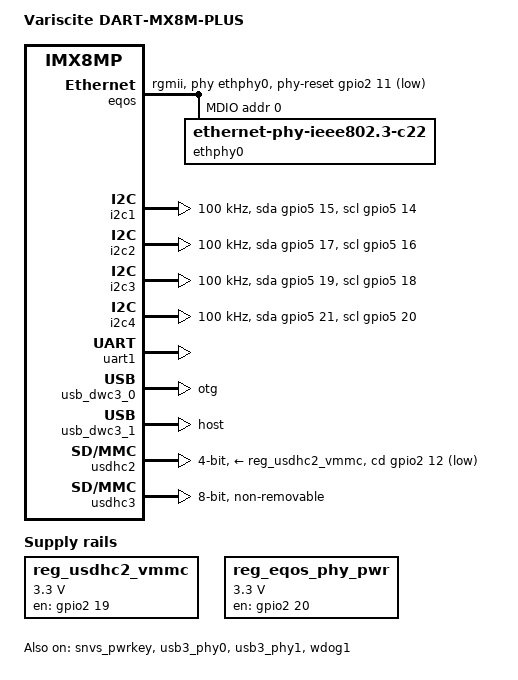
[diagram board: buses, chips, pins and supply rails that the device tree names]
// SPDX-License-Identifier: (GPL-2.0+ OR MIT)
/*
 * Copyright 2019 NXP
 * Copyright 2020 Variscite Ltd.
 */

/dts-v1/;

#include <dt-bindings/usb/pd.h>
#include "imx8mp.dtsi"

/ {
	model = "Variscite DART-MX8M-PLUS";
	compatible = "variscite,imx8mp-var-dart", "fsl,imx8mp";

	chosen {
		stdout-path = &uart1;
	};

	reg_usdhc2_vmmc: regulator-usdhc2 {
		compatible = "regulator-fixed";
		regulator-name = "VSD_3V3";
		regulator-min-microvolt = <3300000>;
		regulator-max-microvolt = <3300000>;
		gpio = <&gpio2 19 GPIO_ACTIVE_HIGH>;
		enable-active-high;
		startup-delay-us = <100>;
		off-on-delay-us = <12000>;
	};

	reg_eqos_phy_pwr: regulator-eqos-phy-pwr {
		compatible = "regulator-fixed";
		regulator-name = "eqos-phy-pwr";
		regulator-min-microvolt = <3300000>;
		regulator-max-microvolt = <3300000>;
		gpio = <&gpio2 20 GPIO_ACTIVE_HIGH>;
		enable-active-high;
		regulator-always-on;
	};
};

&eqos {
	pinctrl-names = "default";
	pinctrl-0 = <&pinctrl_eqos>;
	phy-mode = "rgmii";
	phy-handle = <&ethphy0>;
	phy-reset-gpios = <&gpio2 11 GPIO_ACTIVE_LOW>;
	phy-reset-duration = <10>;
	phy-reset-post-delay = <100>;
	status = "okay";

	mdio {
		compatible = "snps,dwmac-mdio";
		#address-cells = <1>;
		#size-cells = <0>;

		ethphy0: ethernet-phy@0 {
			compatible = "ethernet-phy-ieee802.3-c22";
			reg = <0>;
			at803x,eee-disabled;
			at803x,vddio-1p8v;
			eee-broken-1000t;
		};
	};
};

&i2c1 {
	clock-frequency = <100000>;
	pinctrl-names = "default", "gpio";
	pinctrl-0 = <&pinctrl_i2c1>;
	pinctrl-1 = <&pinctrl_i2c1_gpio>;
	scl-gpios = <&gpio5 14 GPIO_ACTIVE_HIGH>;
	sda-gpios = <&gpio5 15 GPIO_ACTIVE_HIGH>;
	status = "okay";
};

&i2c2 {
	clock-frequency = <100000>;
	pinctrl-names = "default", "gpio";
	pinctrl-0 = <&pinctrl_i2c2>;
	pinctrl-1 = <&pinctrl_i2c2_gpio>;
	scl-gpios = <&gpio5 16 GPIO_ACTIVE_HIGH>;
	sda-gpios = <&gpio5 17 GPIO_ACTIVE_HIGH>;
	status = "okay";
};

&i2c3 {
	clock-frequency = <100000>;
	pinctrl-names = "default", "gpio";
	pinctrl-0 = <&pinctrl_i2c3>;
	pinctrl-1 = <&pinctrl_i2c3_gpio>;
	scl-gpios = <&gpio5 18 GPIO_ACTIVE_HIGH>;
	sda-gpios = <&gpio5 19 GPIO_ACTIVE_HIGH>;
	status = "okay";
};

&i2c4 {
	clock-frequency = <100000>;
	pinctrl-names = "default", "gpio";
	pinctrl-0 = <&pinctrl_i2c4>;
	pinctrl-1 = <&pinctrl_i2c4_gpio>;
	scl-gpios = <&gpio5 20 GPIO_ACTIVE_HIGH>;
	sda-gpios = <&gpio5 21 GPIO_ACTIVE_HIGH>;
	status = "okay";
};

&snvs_pwrkey {
	status = "okay";
};

&uart1 {
	pinctrl-names = "default";
	pinctrl-0 = <&pinctrl_uart1>;
	status = "okay";
};

&usb3_phy0 {
	status = "okay";
};

&usb_dwc3_0 {
	dr_mode = "otg";
	hnp-disable;
	srp-disable;
	adp-disable;
	usb-role-switch;
	status = "okay";
};

&usb3_phy1 {
	status = "okay";
};

&usb_dwc3_1 {
	dr_mode = "host";
	status = "okay";
};

&usdhc2 {
	pinctrl-names = "default", "state_100mhz", "state_200mhz";
	pinctrl-0 = <&pinctrl_usdhc2>, <&pinctrl_usdhc2_gpio>;
	pinctrl-1 = <&pinctrl_usdhc2_100mhz>, <&pinctrl_usdhc2_gpio>;
	pinctrl-2 = <&pinctrl_usdhc2_200mhz>, <&pinctrl_usdhc2_gpio>;
	cd-gpios = <&gpio2 12 GPIO_ACTIVE_LOW>;
	vmmc-supply = <&reg_usdhc2_vmmc>;
	bus-width = <4>;
	status = "okay";
};

&usdhc3 {
	pinctrl-names = "default", "state_100mhz", "state_200mhz";
	pinctrl-0 = <&pinctrl_usdhc3>;
	pinctrl-1 = <&pinctrl_usdhc3_100mhz>;
	pinctrl-2 = <&pinctrl_usdhc3_200mhz>;
	bus-width = <8>;
	non-removable;
	status = "okay";
};

&wdog1 {
	pinctrl-names = "default";
	pinctrl-0 = <&pinctrl_wdog>;
	fsl,ext-reset-output;
	status = "okay";
};

&iomuxc {
	pinctrl-names = "default";

	pinctrl_eqos: eqosgrp {
		fsl,pins = <
			MX8MP_IOMUXC_ENET_MDC__ENET_QOS_MDC				0x3
			MX8MP_IOMUXC_ENET_MDIO__ENET_QOS_MDIO				0x3
			MX8MP_IOMUXC_ENET_RD0__ENET_QOS_RGMII_RD0			0x91
			MX8MP_IOMUXC_ENET_RD1__ENET_QOS_RGMII_RD1			0x91
			MX8MP_IOMUXC_ENET_RD2__ENET_QOS_RGMII_RD2			0x91
			MX8MP_IOMUXC_ENET_RD3__ENET_QOS_RGMII_RD3			0x91
			MX8MP_IOMUXC_ENET_RXC__CCM_ENET_QOS_CLOCK_GENERATE_RX_CLK	0x91
			MX8MP_IOMUXC_ENET_RX_CTL__ENET_QOS_RGMII_RX_CTL			0x91
			MX8MP_IOMUXC_ENET_TD0__ENET_QOS_RGMII_TD0			0x1f
			MX8MP_IOMUXC_ENET_TD1__ENET_QOS_RGMII_TD1			0x1f
			MX8MP_IOMUXC_ENET_TD2__ENET_QOS_RGMII_TD2			0x1f
			MX8MP_IOMUXC_ENET_TD3__ENET_QOS_RGMII_TD3			0x1f
			MX8MP_IOMUXC_ENET_TX_CTL__ENET_QOS_RGMII_TX_CTL			0x1f
			MX8MP_IOMUXC_ENET_TXC__CCM_ENET_QOS_CLOCK_GENERATE_TX_CLK	0x1f
			MX8MP_IOMUXC_SD2_WP__GPIO2_IO20					0x19
			MX8MP_IOMUXC_SD1_STROBE__GPIO2_IO11				0x19
		>;
	};

	pinctrl_i2c1: i2c1grp {
		fsl,pins = <
			MX8MP_IOMUXC_I2C1_SCL__I2C1_SCL					0x400001c3
			MX8MP_IOMUXC_I2C1_SDA__I2C1_SDA					0x400001c3
		>;
	};

	pinctrl_i2c2: i2c2grp {
		fsl,pins = <
			MX8MP_IOMUXC_I2C2_SCL__I2C2_SCL					0x400001c3
			MX8MP_IOMUXC_I2C2_SDA__I2C2_SDA					0x400001c3
		>;
	};

	pinctrl_i2c3: i2c3grp {
		fsl,pins = <
			MX8MP_IOMUXC_I2C3_SCL__I2C3_SCL					0x400001c3
			MX8MP_IOMUXC_I2C3_SDA__I2C3_SDA					0x400001c3
		>;
	};

	pinctrl_i2c4: i2c4grp {
		fsl,pins = <
			MX8MP_IOMUXC_I2C4_SCL__I2C4_SCL					0x400001c3
			MX8MP_IOMUXC_I2C4_SDA__I2C4_SDA					0x400001c3
		>;
	};

	pinctrl_i2c1_gpio: i2c1grp-gpio {
		fsl,pins = <
			MX8MP_IOMUXC_I2C1_SCL__GPIO5_IO14				0x1c3
			MX8MP_IOMUXC_I2C1_SDA__GPIO5_IO15				0x1c3
		>;
	};

	pinctrl_i2c2_gpio: i2c2grp-gpio {
		fsl,pins = <
			MX8MP_IOMUXC_I2C2_SCL__GPIO5_IO16				0x1c3
			MX8MP_IOMUXC_I2C2_SDA__GPIO5_IO17				0x1c3
		>;
	};

	pinctrl_i2c3_gpio: i2c3grp-gpio {
		fsl,pins = <
			MX8MP_IOMUXC_I2C3_SCL__GPIO5_IO18				0x1c3
			MX8MP_IOMUXC_I2C3_SDA__GPIO5_IO19				0x1c3
		>;
	};

	pinctrl_i2c4_gpio: i2c4grp-gpio {
		fsl,pins = <
			MX8MP_IOMUXC_I2C4_SCL__GPIO5_IO20				0x1c3
			MX8MP_IOMUXC_I2C4_SDA__GPIO5_IO21				0x1c3
		>;
	};

	pinctrl_uart1: uart1grp {
		fsl,pins = <
			MX8MP_IOMUXC_UART1_RXD__UART1_DCE_RX				0x49
			MX8MP_IOMUXC_UART1_TXD__UART1_DCE_TX				0x49
		>;
	};

	pinctrl_usdhc2: usdhc2grp {
		fsl,pins = <
			MX8MP_IOMUXC_SD2_CLK__USDHC2_CLK				0x190
			MX8MP_IOMUXC_SD2_CMD__USDHC2_CMD				0x1d0
			MX8MP_IOMUXC_SD2_DATA0__USDHC2_DATA0				0x1d0
			MX8MP_IOMUXC_SD2_DATA1__USDHC2_DATA1				0x1d0
			MX8MP_IOMUXC_SD2_DATA2__USDHC2_DATA2				0x1d0
			MX8MP_IOMUXC_SD2_DATA3__USDHC2_DATA3				0x1d0
			MX8MP_IOMUXC_GPIO1_IO04__USDHC2_VSELECT				0xc1
		>;
	};

	pinctrl_usdhc2_100mhz: usdhc2grp-100mhz {
		fsl,pins = <
			MX8MP_IOMUXC_SD2_CLK__USDHC2_CLK				0x194
			MX8MP_IOMUXC_SD2_CMD__USDHC2_CMD				0x1d4
			MX8MP_IOMUXC_SD2_DATA0__USDHC2_DATA0				0x1d4
			MX8MP_IOMUXC_SD2_DATA1__USDHC2_DATA1				0x1d4
			MX8MP_IOMUXC_SD2_DATA2__USDHC2_DATA2				0x1d4
			MX8MP_IOMUXC_SD2_DATA3__USDHC2_DATA3				0x1d4
			MX8MP_IOMUXC_GPIO1_IO04__USDHC2_VSELECT 			0xc1
		>;
	};

	pinctrl_usdhc2_200mhz: usdhc2grp-200mhz {
		fsl,pins = <
			MX8MP_IOMUXC_SD2_CLK__USDHC2_CLK				0x196
			MX8MP_IOMUXC_SD2_CMD__USDHC2_CMD				0x1d6
			MX8MP_IOMUXC_SD2_DATA0__USDHC2_DATA0				0x1d6
			MX8MP_IOMUXC_SD2_DATA1__USDHC2_DATA1				0x1d6
			MX8MP_IOMUXC_SD2_DATA2__USDHC2_DATA2				0x1d6
			MX8MP_IOMUXC_SD2_DATA3__USDHC2_DATA3				0x1d6
			MX8MP_IOMUXC_GPIO1_IO04__USDHC2_VSELECT 			0xc1
		>;
	};

	pinctrl_usdhc2_gpio: usdhc2grp-gpio {
		fsl,pins = <
			MX8MP_IOMUXC_SD2_CD_B__GPIO2_IO12				0x1c4
			MX8MP_IOMUXC_SD2_RESET_B__GPIO2_IO19				0x41
		>;
	};

	pinctrl_usdhc3: usdhc3grp {
		fsl,pins = <
			MX8MP_IOMUXC_NAND_WE_B__USDHC3_CLK				0x190
			MX8MP_IOMUXC_NAND_WP_B__USDHC3_CMD				0x1d0
			MX8MP_IOMUXC_NAND_DATA04__USDHC3_DATA0				0x1d0
			MX8MP_IOMUXC_NAND_DATA05__USDHC3_DATA1				0x1d0
			MX8MP_IOMUXC_NAND_DATA06__USDHC3_DATA2				0x1d0
			MX8MP_IOMUXC_NAND_DATA07__USDHC3_DATA3				0x1d0
			MX8MP_IOMUXC_NAND_RE_B__USDHC3_DATA4				0x1d0
			MX8MP_IOMUXC_NAND_CE2_B__USDHC3_DATA5				0x1d0
			MX8MP_IOMUXC_NAND_CE3_B__USDHC3_DATA6				0x1d0
			MX8MP_IOMUXC_NAND_CLE__USDHC3_DATA7				0x1d0
			MX8MP_IOMUXC_NAND_CE1_B__USDHC3_STROBE				0x190
		>;
	};

	pinctrl_usdhc3_100mhz: usdhc3grp-100mhz {
		fsl,pins = <
			MX8MP_IOMUXC_NAND_WE_B__USDHC3_CLK				0x194
			MX8MP_IOMUXC_NAND_WP_B__USDHC3_CMD				0x1d4
			MX8MP_IOMUXC_NAND_DATA04__USDHC3_DATA0				0x1d4
			MX8MP_IOMUXC_NAND_DATA05__USDHC3_DATA1				0x1d4
			MX8MP_IOMUXC_NAND_DATA06__USDHC3_DATA2				0x1d4
			MX8MP_IOMUXC_NAND_DATA07__USDHC3_DATA3				0x1d4
			MX8MP_IOMUXC_NAND_RE_B__USDHC3_DATA4				0x1d4
			MX8MP_IOMUXC_NAND_CE2_B__USDHC3_DATA5				0x1d4
			MX8MP_IOMUXC_NAND_CE3_B__USDHC3_DATA6				0x1d4
			MX8MP_IOMUXC_NAND_CLE__USDHC3_DATA7				0x1d4
			MX8MP_IOMUXC_NAND_CE1_B__USDHC3_STROBE				0x194
		>;
	};

	pinctrl_usdhc3_200mhz: usdhc3grp-200mhz {
		fsl,pins = <
			MX8MP_IOMUXC_NAND_WE_B__USDHC3_CLK				0x196
			MX8MP_IOMUXC_NAND_WP_B__USDHC3_CMD				0x1d6
			MX8MP_IOMUXC_NAND_DATA04__USDHC3_DATA0				0x1d6
			MX8MP_IOMUXC_NAND_DATA05__USDHC3_DATA1				0x1d6
			MX8MP_IOMUXC_NAND_DATA06__USDHC3_DATA2				0x1d6
			MX8MP_IOMUXC_NAND_DATA07__USDHC3_DATA3				0x1d6
			MX8MP_IOMUXC_NAND_RE_B__USDHC3_DATA4				0x1d6
			MX8MP_IOMUXC_NAND_CE2_B__USDHC3_DATA5				0x1d6
			MX8MP_IOMUXC_NAND_CE3_B__USDHC3_DATA6				0x1d6
			MX8MP_IOMUXC_NAND_CLE__USDHC3_DATA7				0x1d6
			MX8MP_IOMUXC_NAND_CE1_B__USDHC3_STROBE				0x196
		>;
	};

	pinctrl_wdog: wdoggrp {
		fsl,pins = <
			MX8MP_IOMUXC_GPIO1_IO02__WDOG1_WDOG_B				0xc6
		>;
	};
};
